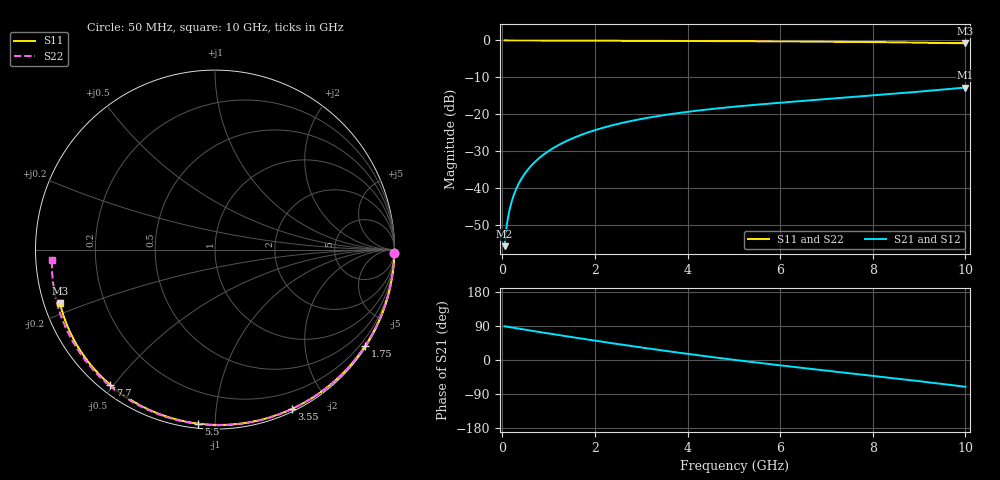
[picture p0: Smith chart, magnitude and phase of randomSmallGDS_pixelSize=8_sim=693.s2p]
! freq	dB(S11)	phase(S11)	dB(S12)	phase(S12)
!  dB(S21)	phase(S21)	dB(S22)	phase(S22)
!S-par simulation data
#  GHz  S  DB  R 50
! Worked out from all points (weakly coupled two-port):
!   200 points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, 50 MHz to 10 GHz, reference 50 ohm
!   highest |S21| = -12.79 dB at 10 GHz (marker M1); lowest = -55.9 dB at 50 MHz (marker M2)
!   lowest |S11| = -0.8 dB at 10 GHz (marker M3), VSWR 22.30, Z = 2.31 - j8.43 ohm
!   |S11| at or under -10 dB: nowhere
!   |S22| runs from -0.8 to 0.0 dB; largest |S21 - S12| = 0
!   S11 on the Smith chart (normalised r, x): 50 MHz: open; 1.75 GHz: 0.04, -3.41; 3.55 GHz: 0.03, -1.59; 5.5 GHz: 0.02, -0.91; 7.7 GHz: 0.03, -0.49; 10 GHz: 0.05, -0.17
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0.05  -0.01 -1.0  -55.87 89.0  -55.87 89.0  -0.01 -1.0
0.1  -0.01 -1.9  -49.86 87.9  -49.86 87.9  -0.01 -2.1
0.15  -0.01 -2.8  -46.34 86.9  -46.34 86.9  -0.01 -3.1
0.2  -0.01 -3.8  -43.84 85.9  -43.84 85.9  -0.01 -4.1
0.25  -0.01 -4.7  -41.91 84.9  -41.91 84.9  -0.01 -5.1
0.35  -0.01 -6.6  -39.00 82.8  -39.00 82.8  -0.01 -7.2
0.5  -0.01 -9.5  -35.93 79.8  -35.93 79.8  -0.01 -10.3
0.7  -0.02 -13.2  -33.05 75.9  -33.05 75.9  -0.02 -14.4
1  -0.03 -18.9  -30.04 70.0  -30.04 70.0  -0.03 -20.4
1.35  -0.04 -25.4  -27.54 63.3  -27.54 63.3  -0.04 -27.5
1.75  -0.05 -32.7  -25.43 55.8  -25.43 55.8  -0.06 -35.4
2.6  -0.09 -47.9  -22.37 40.2  -22.37 40.2  -0.09 -51.9
3.4  -0.12 -61.7  -20.46 26.2  -20.46 26.2  -0.13 -66.8
3.55  -0.13 -64.3  -20.17 23.7  -20.17 23.7  -0.13 -69.5
4.3  -0.16 -76.6  -18.94 11.4  -18.94 11.4  -0.17 -82.8
5.05  -0.20 -88.5  -17.95 -0.2  -17.95 -0.2  -0.21 -95.7
5.5  -0.23 -95.5  -17.44 -6.9  -17.44 -6.9  -0.24 -103.2
6.7  -0.32 -113.4  -16.23 -24.0  -16.23 -24.0  -0.33 -122.6
7.7  -0.42 -127.8  -15.25 -37.7  -15.25 -37.7  -0.44 -138.5
8.35  -0.50 -137.1  -14.59 -46.7  -14.59 -46.7  -0.52 -148.9
9.2  -0.63 -149.2  -13.69 -58.7  -13.69 -58.7  -0.65 -162.7
10  -0.78 -160.8  -12.79 -70.7  -12.79 -70.7  -0.81 -176.3
